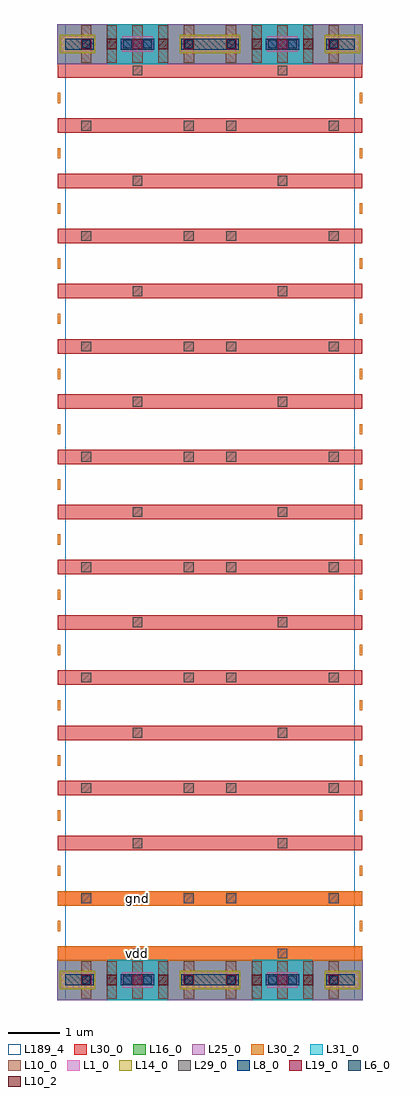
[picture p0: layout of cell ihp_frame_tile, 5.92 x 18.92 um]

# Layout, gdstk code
import gdstk
lib = gdstk.Library(unit=1e-6, precision=1e-09)
def R(c, l, rs):  # rectangles x0, y0, x1, y1
    for r in rs: c.add(gdstk.rectangle(r[:2], r[2:], *l))
def A(c, l, x, y, w, h, nx, ny, dx, dy):  # array of equal rectangles
    R(c, l, [(x+i*dx, y+j*dy, x+i*dx+w, y+j*dy+h) for i in range(nx) for j in range(ny)])
L1_0 = (1, 0)
L6_0 = (6, 0)
L8_0 = (8, 0)
L10_0 = (10, 0)
L10_2 = (10, 2)
L14_0 = (14, 0)
L16_0 = (16, 0)
L19_0 = (19, 0)
L25_0 = (25, 0)
L29_0 = (29, 0)
L30_0 = (30, 0)
L30_2 = (30, 2)
L31_0 = (31, 0)
L189_4 = (189, 4)

ihp_frame_tile = lib.new_cell('ihp_frame_tile')
R(ihp_frame_tile, L1_0, [(-0.075,0.24,0.56,0.54), (1.11,0.24,1.7,0.54), (2.25,0.24,3.37,0.54), (3.92,0.24,4.51,0.54), (5.06,0.24,5.695,0.54), (-0.075,18.38,0.56,18.68), (1.11,18.38,1.7,18.68), (2.25,18.38,3.37,18.68), (3.92,18.38,4.51,18.68), (5.06,18.38,5.695,18.68)])
R(ihp_frame_tile, L6_0, [(0.33,0.31,0.49,0.47), (1.13,0.31,1.29,0.47), (1.52,0.31,1.68,0.47), (2.32,0.31,2.48,0.47), (3.14,0.31,3.3,0.47), (3.94,0.31,4.1,0.47), (4.33,0.31,4.49,0.47), (5.13,0.31,5.29,0.47), (0.33,18.45,0.49,18.61), (1.13,18.45,1.29,18.61), (1.52,18.45,1.68,18.61), (2.32,18.45,2.48,18.61), (3.14,18.45,3.3,18.61), (3.94,18.45,4.1,18.61), (4.33,18.45,4.49,18.61), (5.13,18.45,5.29,18.61)])
R(ihp_frame_tile, L8_0, [(0,0.285,0.555,0.495), (1.08,0.285,1.73,0.495), (2.255,0.285,3.365,0.495), (3.89,0.285,4.54,0.495), (5.065,0.285,5.62,0.495), (0,18.425,0.555,18.635), (1.08,18.425,1.73,18.635), (2.255,18.425,3.365,18.635), (3.89,18.425,4.54,18.635), (5.065,18.425,5.62,18.635)])
A(ihp_frame_tile, L10_0, 0.805, 0.025, 0.2, 0.73, 3, 2, 0.5, 18.14)
A(ihp_frame_tile, L10_0, 3.615, 0.025, 0.2, 0.73, 3, 2, 0.5, 18.14)
R(ihp_frame_tile, L10_0, [(0.31,0.025,0.51,0.755), (2.3,0.025,2.5,0.755), (3.12,0.025,3.32,0.755), (5.11,0.025,5.31,0.755), (0.31,18.165,0.51,18.895), (2.3,18.165,2.5,18.895), (3.12,18.165,3.32,18.895), (5.11,18.165,5.31,18.895)])
R(ihp_frame_tile, L10_2, [(0.805,0.29,1.005,0.49), (1.805,0.29,2.005,0.49), (3.615,0.29,3.815,0.49), (4.615,0.29,4.815,0.49), (0.805,18.43,1.005,18.63), (1.805,18.43,2.005,18.63), (3.615,18.43,3.815,18.63), (4.615,18.43,4.815,18.63)])
R(ihp_frame_tile, L14_0, [(-0.105,0.21,0.59,0.57), (2.22,0.21,3.4,0.57), (5.03,0.21,5.725,0.57), (-0.105,18.35,0.59,18.71), (2.22,18.35,3.4,18.71), (5.03,18.35,5.725,18.71)])
R(ihp_frame_tile, L16_0, [(-0.15,0,5.77,0.785), (-0.15,18.135,5.77,18.92)])
A(ihp_frame_tile, L19_0, 0.315, 0.295, 0.19, 0.19, 3, 2, 0.995, 18.14)
A(ihp_frame_tile, L19_0, 3.125, 0.295, 0.19, 0.19, 3, 2, 0.995, 18.14)
R(ihp_frame_tile, L25_0, [(-0.15,0,5.77,0.785), (-0.15,18.135,5.77,18.92)])
A(ihp_frame_tile, L29_0, 1.31, 0.805, 0.19, 0.19, 1, 9, 0, 2.14)
A(ihp_frame_tile, L29_0, 4.12, 0.805, 0.19, 0.19, 1, 9, 0, 2.14)
A(ihp_frame_tile, L29_0, 0.315, 1.875, 0.19, 0.19, 1, 8, 0, 2.14)
A(ihp_frame_tile, L29_0, 2.305, 1.875, 0.19, 0.19, 1, 8, 0, 2.14)
A(ihp_frame_tile, L29_0, 3.125, 1.875, 0.19, 0.19, 1, 8, 0, 2.14)
A(ihp_frame_tile, L29_0, 5.115, 1.875, 0.19, 0.19, 1, 8, 0, 2.14)
A(ihp_frame_tile, L30_0, -0.145, 0.76, 5.91, 0.28, 1, 17, 0, 1.07)
A(ihp_frame_tile, L30_2, -0.145, 1.335, 0.05, 0.2, 1, 16, 0, 1.07)
A(ihp_frame_tile, L30_2, 5.715, 1.335, 0.05, 0.2, 1, 16, 0, 1.07)
R(ihp_frame_tile, L30_2, [(-0.145,0.76,5.765,1.04), (-0.145,1.83,5.765,2.11)])
R(ihp_frame_tile, L31_0, [(0.83,0,1.98,0.785), (3.64,0,4.79,0.785), (0.83,18.135,1.98,18.92), (3.64,18.135,4.79,18.92)])
R(ihp_frame_tile, L189_4, [(0,0,5.62,18.92)])
ihp_frame_tile.add(gdstk.Label('vdd', (1.405,0.9), layer=30, texttype=25))
ihp_frame_tile.add(gdstk.Label('gnd', (1.405,1.97), layer=30, texttype=25))

lib.write_gds('ihp_frame_tile.gds')
